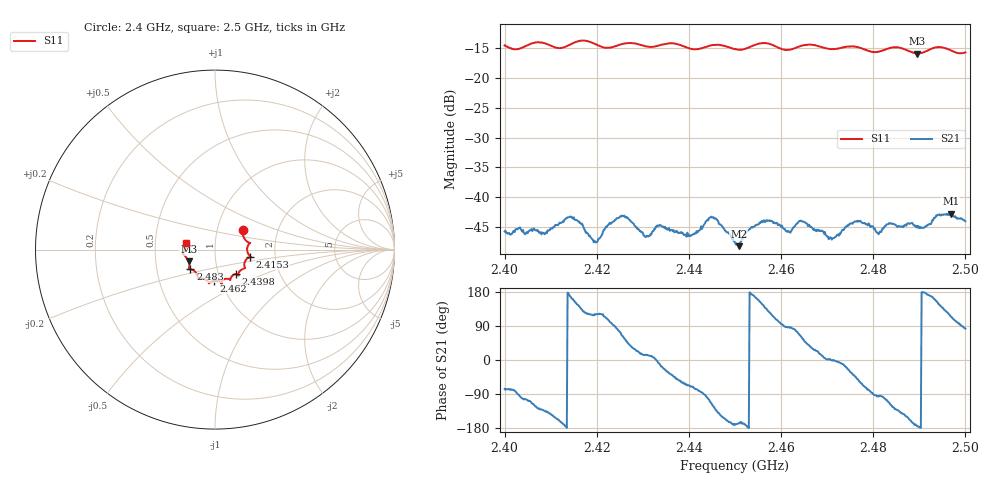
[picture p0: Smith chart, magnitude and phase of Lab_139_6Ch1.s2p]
# Hz S RI R 50
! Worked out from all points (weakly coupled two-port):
!   601 points, 2.4 GHz to 2.5 GHz, reference 50 ohm
!   highest |S21| = -42.77 dB at 2.4968 GHz (marker M1); lowest = -48.3 dB at 2.4508 GHz (marker M2)
!   lowest |S11| = -15.9 dB at 2.4895 GHz (marker M3), VSWR 1.38, Z = 36.9 - j5 ohm
!   |S11| at or under -10 dB: start of sweep to end of sweep
!   S12 and S22 are empty: the file has one direction only
!   S11 on the Smith chart (normalised r, x): 2.4 GHz: 1.33, +0.29; 2.4153 GHz: 1.48, -0.12; 2.4398 GHz: 1.21, -0.34; 2.462 GHz: 0.93, -0.33; 2.483 GHz: 0.74, -0.17; 2.5 GHz: 0.72, +0.06
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2.4e9  0.155 0.1066  0.00121 -0.005  0 0  0 0
2.415333e9  0.1964 -0.0385  -0.00565 0.00304  0 0  0 0
2.416667e9  0.2021 -0.0426  -0.00416 0.00419  0 0  0 0
2.419667e9  0.1876 -0.0446  -0.00206 0.00362  0 0  0 0
2.4255e9  0.166 -0.0987  0.00304 0.00631  0 0  0 0
2.430667e9  0.1461 -0.1134  0.00448 0.00108  0 0  0 0
2.433333e9  0.1311 -0.1335  0.00567 -0.000725  0 0  0 0
2.439833e9  0.1154 -0.1361  0.00189 -0.00434  0 0  0 0
2.445167e9  0.0849 -0.1693  -0.00341 -0.0058  0 0  0 0
2.45e9  0.0648 -0.1624  -0.00411 -0.000632  0 0  0 0
2.450833e9  0.0555 -0.1635  -0.00377 -0.00088  0 0  0 0
2.455833e9  0.038 -0.1928  -0.00533 0.00335  0 0  0 0
2.462e9  -0.00511 -0.1733  0.00039 0.005  0 0  0 0
2.466667e9  -0.0343 -0.1876  0.00473 0.00292  0 0  0 0
2.470833e9  -0.0566 -0.1656  0.00456 -7.11e-06  0 0  0 0
2.476167e9  -0.0946 -0.1572  0.00446 -0.00435  0 0  0 0
2.481167e9  -0.1206 -0.1148  -0.000541 -0.00484  0 0  0 0
2.483e9  -0.1374 -0.1097  -0.00165 -0.00568  0 0  0 0
2.483333e9  -0.1399 -0.1094  -0.00219 -0.00552  0 0  0 0
2.4895e9  -0.1466 -0.066  -0.00569 -0.000505  0 0  0 0
2.496833e9  -0.1706 -0.00826  -0.00301 0.00662  0 0  0 0
2.5e9  -0.1597 0.0392  0.000803 0.00622  0 0  0 0
